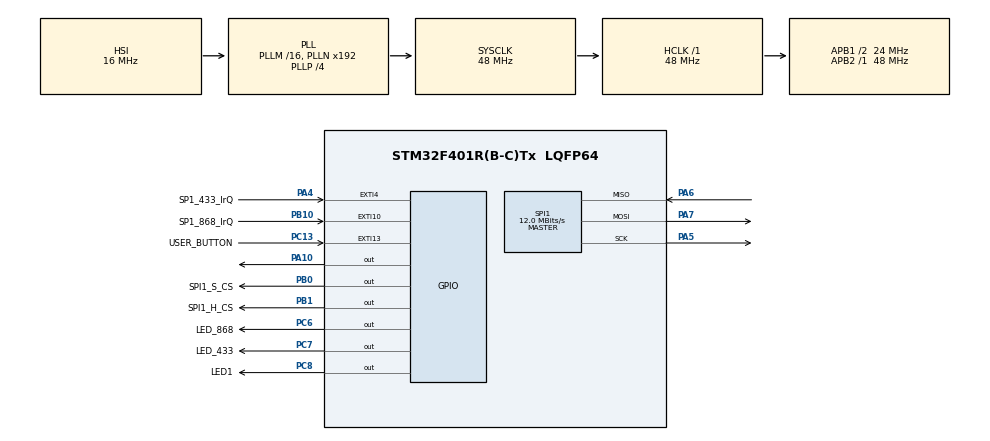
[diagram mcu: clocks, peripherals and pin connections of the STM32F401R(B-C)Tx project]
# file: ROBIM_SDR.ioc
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Mcu.Family=STM32F4
Mcu.Name=STM32F401R(B-C)Tx
Mcu.Package=LQFP64
NVIC.EXTI15_10_IRQn=true\:0\:0\:false\:false\:true\:true\:true
NVIC.EXTI4_IRQn=true\:0\:0\:false\:false\:true\:true\:true
NVIC.PriorityGroup=NVIC_PRIORITYGROUP_4
PA10.GPIO_Speed=GPIO_SPEED_FREQ_HIGH
PA10.Signal=GPIO_Output
PA13.GPIO_Label=TMS
PA13.Mode=Serial_Wire
PA13.Signal=SYS_JTMS-SWDIO
PA14.GPIO_Label=TCK
PA14.Mode=Serial_Wire
PA14.Signal=SYS_JTCK-SWCLK
PA4.GPIO_Label=SP1_433_IrQ
PA4.GPIO_ModeDefaultEXTI=GPIO_MODE_IT_FALLING
PA4.Signal=GPXTI4
PA5.GPIO_PuPd=GPIO_PULLUP
PA5.GPIO_Speed=GPIO_SPEED_FREQ_HIGH
PA5.Mode=Full_Duplex_Master
PA5.Signal=SPI1_SCK
PA6.Mode=Full_Duplex_Master
PA6.Signal=SPI1_MISO
PA7.Mode=Full_Duplex_Master
PA7.Signal=SPI1_MOSI
PB0.GPIO_Label=SPI1_S_CS
PB0.Signal=GPIO_Output
PB1.GPIO_Label=SPI1_H_CS
PB1.Signal=GPIO_Output
PB10.GPIO_Label=SP1_868_IrQ
PB10.Signal=GPXTI10
PC13-ANTI_TAMP.GPIO_Label=USER_BUTTON
PC13-ANTI_TAMP.Signal=GPXTI13
PC6.GPIO_Label=LED_868
PC6.Signal=GPIO_Output
PC7.GPIO_Label=LED_433
PC7.Signal=GPIO_Output
PC8.GPIO_Label=LED1
PC8.Signal=GPIO_Output
ProjectManager.HeapSize=0x200
ProjectManager.StackSize=0x400
ProjectManager.TargetToolchain=STM32CubeIDE
RCC.48MHZClocksFreq_Value=48000000
RCC.AHBFreq_Value=48000000
RCC.APB1CLKDivider=RCC_HCLK_DIV2
RCC.APB1Freq_Value=24000000
RCC.APB1TimFreq_Value=48000000
RCC.APB2Freq_Value=48000000
RCC.APB2TimFreq_Value=48000000
RCC.CortexFreq_Value=48000000
RCC.HCLKFreq_Value=48000000
RCC.HSE_VALUE=25000000
RCC.HSI_VALUE=16000000
RCC.LSE_VALUE=32768
RCC.PLLP=RCC_PLLP_DIV4
RCC.SYSCLKFreq_VALUE=48000000
RCC.SYSCLKSource=RCC_SYSCLKSOURCE_PLLCLK
RCC.VCOOutputFreq_Value=192000000
SPI1.BaudRatePrescaler=SPI_BAUDRATEPRESCALER_4
SPI1.CalculateBaudRate=12.0 MBits/s
SPI1.Direction=SPI_DIRECTION_2LINES
SPI1.Mode=SPI_MODE_MASTER
SPI1.VirtualType=VM_MASTER
VP_TIM2_VS_ClockSourceINT.Mode=Internal
board=custom

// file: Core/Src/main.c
/* USER CODE BEGIN Header */
/**
  ******************************************************************************
  * @file           : main.c
  * @brief          : Main program body
  ******************************************************************************
  * @attention
  *
  * <h2><center>&copy; Copyright (c) 2020 STMicroelectronics.
  * All rights reserved.</center></h2>
  *
  * This software component is licensed by ST under BSD 3-Clause license,
  * the "License"; You may not use this file except in compliance with the
  * License. You may obtain a copy of the License at:
  *                        opensource.org/licenses/BSD-3-Clause
  *
  ******************************************************************************
  */
/* USER CODE END Header */
#include "main.h"

/* USER CODE BEGIN Includes */
#include "cube_hal.h"
#include "radio_shield_config.h"
#include "radio_appli.h"

#include "fsm.h"

/* USER CODE END Includes */

SPI_HandleTypeDef hspi1;

TIM_HandleTypeDef htim2;

/* USER CODE BEGIN PV */
uint32_t Rx_count;

/* USER CODE END PV */

void SystemClock_Config(void);
static void MX_GPIO_Init(void);
static void MX_SPI1_Init(void);
static void MX_TIM2_Init(void);
/* USER CODE BEGIN PFP */

void Clock_Enable(void);

/* USER CODE END PFP */

int main(void)
{

  /* MCU Configuration--------------------------------------------------------*/

  /* Reset of all peripherals, Initializes the Flash interface and the Systick. */
  HAL_Init();

  /* USER CODE BEGIN Init */
  Clock_Enable();

  /* USER CODE END Init */

  /* Configure the system clock */
  SystemClock_Config();

  /* Initialize all configured peripherals */
  MX_GPIO_Init();
  MX_SPI1_Init();
  MX_TIM2_Init();
  /* USER CODE BEGIN 2 */

  HAL_Radio_Init();
  APP_Init();
  HAL_TIM_OC_Start_IT(&htim2,0);

  /* USER CODE END 2 */

  /* Infinite loop */
  while (1)
  {

    /* USER CODE BEGIN 3 */
	APP_Process();
  }
  /* USER CODE END 3 */
}

void SystemClock_Config(void)
{
  RCC_OscInitTypeDef RCC_OscInitStruct = {0};
  RCC_ClkInitTypeDef RCC_ClkInitStruct = {0};

  /** Configure the main internal regulator output voltage
  */
  __HAL_RCC_PWR_CLK_ENABLE();
  __HAL_PWR_VOLTAGESCALING_CONFIG(PWR_REGULATOR_VOLTAGE_SCALE2);
  /** Initializes the RCC Oscillators according to the specified parameters
  * in the RCC_OscInitTypeDef structure.
  */
  RCC_OscInitStruct.OscillatorType = RCC_OSCILLATORTYPE_HSI;
  RCC_OscInitStruct.HSIState = RCC_HSI_ON;
  RCC_OscInitStruct.HSICalibrationValue = RCC_HSICALIBRATION_DEFAULT;
  RCC_OscInitStruct.PLL.PLLState = RCC_PLL_ON;
  RCC_OscInitStruct.PLL.PLLSource = RCC_PLLSOURCE_HSI;
  RCC_OscInitStruct.PLL.PLLM = 16;
  RCC_OscInitStruct.PLL.PLLN = 192;
  RCC_OscInitStruct.PLL.PLLP = RCC_PLLP_DIV4;
  RCC_OscInitStruct.PLL.PLLQ = 4;
  if (HAL_RCC_OscConfig(&RCC_OscInitStruct) != HAL_OK)
  {
    Error_Handler();
  }
  /** Initializes the CPU, AHB and APB buses clocks
  */
  RCC_ClkInitStruct.ClockType = RCC_CLOCKTYPE_HCLK|RCC_CLOCKTYPE_SYSCLK
                              |RCC_CLOCKTYPE_PCLK1|RCC_CLOCKTYPE_PCLK2;
  RCC_ClkInitStruct.SYSCLKSource = RCC_SYSCLKSOURCE_PLLCLK;
  RCC_ClkInitStruct.AHBCLKDivider = RCC_SYSCLK_DIV1;
  RCC_ClkInitStruct.APB1CLKDivider = RCC_HCLK_DIV2;
  RCC_ClkInitStruct.APB2CLKDivider = RCC_HCLK_DIV1;

  if (HAL_RCC_ClockConfig(&RCC_ClkInitStruct, FLASH_LATENCY_1) != HAL_OK)
  {
    Error_Handler();
  }
}

static void MX_SPI1_Init(void)
{

  /* SPI1 parameter configuration*/
  hspi1.Instance = SPI1;
  hspi1.Init.Mode = SPI_MODE_MASTER;
  hspi1.Init.Direction = SPI_DIRECTION_2LINES;
  hspi1.Init.DataSize = SPI_DATASIZE_8BIT;
  hspi1.Init.CLKPolarity = SPI_POLARITY_LOW;
  hspi1.Init.CLKPhase = SPI_PHASE_1EDGE;
  hspi1.Init.NSS = SPI_NSS_SOFT;
  hspi1.Init.BaudRatePrescaler = SPI_BAUDRATEPRESCALER_4;
  hspi1.Init.FirstBit = SPI_FIRSTBIT_MSB;
  hspi1.Init.TIMode = SPI_TIMODE_DISABLE;
  hspi1.Init.CRCCalculation = SPI_CRCCALCULATION_DISABLE;
  hspi1.Init.CRCPolynomial = 10;
  if (HAL_SPI_Init(&hspi1) != HAL_OK)
  {
    Error_Handler();
  }

}

static void MX_TIM2_Init(void)
{

  TIM_ClockConfigTypeDef sClockSourceConfig = {0};
  TIM_MasterConfigTypeDef sMasterConfig = {0};

  htim2.Instance = TIM2;
  htim2.Init.Prescaler = 0;
  htim2.Init.CounterMode = TIM_COUNTERMODE_UP;
  htim2.Init.Period = 4294967295;
  htim2.Init.ClockDivision = TIM_CLOCKDIVISION_DIV1;
  htim2.Init.AutoReloadPreload = TIM_AUTORELOAD_PRELOAD_DISABLE;
  if (HAL_TIM_Base_Init(&htim2) != HAL_OK)
  {
    Error_Handler();
  }
  sClockSourceConfig.ClockSource = TIM_CLOCKSOURCE_INTERNAL;
  if (HAL_TIM_ConfigClockSource(&htim2, &sClockSourceConfig) != HAL_OK)
  {
    Error_Handler();
  }
  sMasterConfig.MasterOutputTrigger = TIM_TRGO_RESET;
  sMasterConfig.MasterSlaveMode = TIM_MASTERSLAVEMODE_DISABLE;
  if (HAL_TIMEx_MasterConfigSynchronization(&htim2, &sMasterConfig) != HAL_OK)
  {
    Error_Handler();
  }

}

static void MX_GPIO_Init(void)
{
  GPIO_InitTypeDef GPIO_InitStruct = {0};

  /* GPIO Ports Clock Enable */
  __HAL_RCC_GPIOC_CLK_ENABLE();
  __HAL_RCC_GPIOA_CLK_ENABLE();
  __HAL_RCC_GPIOB_CLK_ENABLE();

  /*Configure GPIO pin Output Level */
  HAL_GPIO_WritePin(GPIOB, SPI1_S_CS_Pin|SPI1_H_CS_Pin, GPIO_PIN_RESET);

  /*Configure GPIO pin Output Level */
  HAL_GPIO_WritePin(GPIOC, LED_868_Pin|LED_433_Pin|LED1_Pin, GPIO_PIN_RESET);

  /*Configure GPIO pin Output Level */
  HAL_GPIO_WritePin(GPIOA, GPIO_PIN_10, GPIO_PIN_RESET);

  /*Configure GPIO pin : USER_BUTTON_Pin */
  GPIO_InitStruct.Pin = USER_BUTTON_Pin;
  GPIO_InitStruct.Mode = GPIO_MODE_IT_RISING;
  GPIO_InitStruct.Pull = GPIO_NOPULL;
  HAL_GPIO_Init(USER_BUTTON_GPIO_Port, &GPIO_InitStruct);

  /*Configure GPIO pin : SP1_433_IrQ_Pin */
  GPIO_InitStruct.Pin = SP1_433_IrQ_Pin;
  GPIO_InitStruct.Mode = GPIO_MODE_IT_FALLING;
  GPIO_InitStruct.Pull = GPIO_NOPULL;
  HAL_GPIO_Init(SP1_433_IrQ_GPIO_Port, &GPIO_InitStruct);

  /*Configure GPIO pins : SPI1_S_CS_Pin SPI1_H_CS_Pin */
  GPIO_InitStruct.Pin = SPI1_S_CS_Pin|SPI1_H_CS_Pin;
  GPIO_InitStruct.Mode = GPIO_MODE_OUTPUT_PP;
  GPIO_InitStruct.Pull = GPIO_NOPULL;
  GPIO_InitStruct.Speed = GPIO_SPEED_FREQ_LOW;
  HAL_GPIO_Init(GPIOB, &GPIO_InitStruct);

  /*Configure GPIO pin : SP1_868_IrQ_Pin */
  GPIO_InitStruct.Pin = SP1_868_IrQ_Pin;
  GPIO_InitStruct.Mode = GPIO_MODE_IT_RISING;
  GPIO_InitStruct.Pull = GPIO_NOPULL;
  HAL_GPIO_Init(SP1_868_IrQ_GPIO_Port, &GPIO_InitStruct);

  /*Configure GPIO pins : LED_868_Pin LED_433_Pin LED1_Pin */
  GPIO_InitStruct.Pin = LED_868_Pin|LED_433_Pin|LED1_Pin;
  GPIO_InitStruct.Mode = GPIO_MODE_OUTPUT_PP;
  GPIO_InitStruct.Pull = GPIO_NOPULL;
  GPIO_InitStruct.Speed = GPIO_SPEED_FREQ_LOW;
  HAL_GPIO_Init(GPIOC, &GPIO_InitStruct);

  /*Configure GPIO pin : PA10 */
  GPIO_InitStruct.Pin = GPIO_PIN_10;
  GPIO_InitStruct.Mode = GPIO_MODE_OUTPUT_PP;
  GPIO_InitStruct.Pull = GPIO_NOPULL;
  GPIO_InitStruct.Speed = GPIO_SPEED_FREQ_HIGH;
  HAL_GPIO_Init(GPIOA, &GPIO_InitStruct);

  /* EXTI interrupt init*/
  HAL_NVIC_SetPriority(EXTI4_IRQn, 0, 0);
  HAL_NVIC_EnableIRQ(EXTI4_IRQn);

  HAL_NVIC_SetPriority(EXTI15_10_IRQn, 0, 0);
  HAL_NVIC_EnableIRQ(EXTI15_10_IRQn);

}

/* USER CODE BEGIN 4 */
void Clock_Enable(void)
{
  __GPIOA_CLK_ENABLE();
  __GPIOB_CLK_ENABLE();
  __GPIOC_CLK_ENABLE();
  __GPIOD_CLK_ENABLE();
}

void handle_TIM2(void)
{
	Rx_count++;
}

FlagStatus check_Rx_count(void)
{
	FlagStatus retval = RESET;
	if(Rx_count >= 100) //Debug value 100 for 10 secs. Final value 10000 for 10 secs.
	{
		retval = SET;
		Rx_count = 0;
	}
	return retval;
}

void reset_RX_count(void)
{
	Rx_count = 0;
}

/* USER CODE END 4 */

void Error_Handler(void)
{
}

/************************ (C) COPYRIGHT STMicroelectronics *****END OF FILE****/
